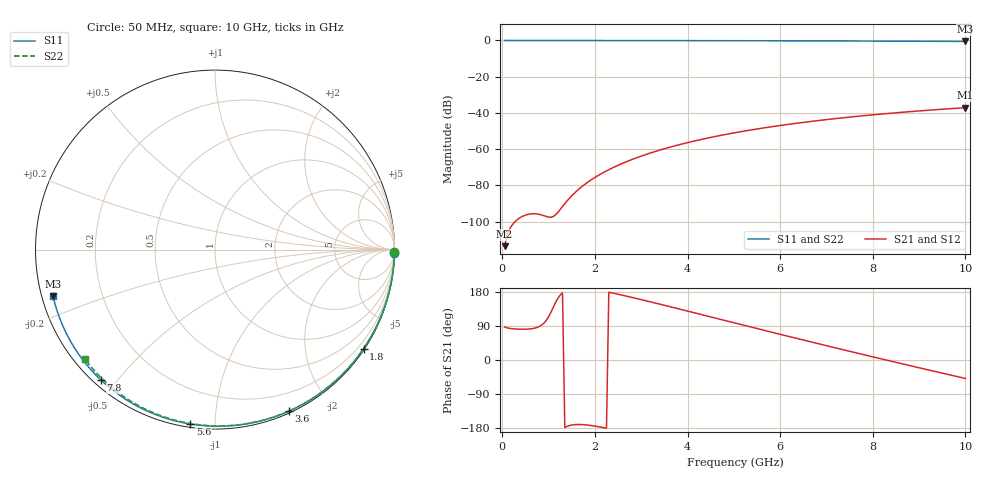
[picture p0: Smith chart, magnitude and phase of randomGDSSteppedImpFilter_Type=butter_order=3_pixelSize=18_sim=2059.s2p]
! freq	dB(S11)	phase(S11)	dB(S12)	phase(S12)
!  dB(S21)	phase(S21)	dB(S22)	phase(S22)
!S-par simulation data
#  GHz  S  DB  R 50
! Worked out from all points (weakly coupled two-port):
!   200 points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, 50 MHz to 10 GHz, reference 50 ohm
!   highest |S21| = -37.12 dB at 10 GHz (marker M1); lowest = -113.6 dB at 50 MHz (marker M2)
!   lowest |S11| = -0.5 dB at 10 GHz (marker M3), VSWR 31.73, Z = 1.61 - j7.02 ohm
!   |S11| at or under -10 dB: nowhere
!   |S22| runs from -0.5 to 0.0 dB; largest |S21 - S12| = 0
!   S11 on the Smith chart (normalised r, x): 50 MHz: open; 1.8 GHz: 0.03, -3.30; 3.6 GHz: 0.02, -1.55; 5.6 GHz: 0.02, -0.87; 7.8 GHz: 0.02, -0.45; 10 GHz: 0.03, -0.14
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0.05  -0.00 -1.0  -113.58 87.2  -113.58 87.2  -0.00 -0.8
0.45  -0.01 -8.6  -96.94 81.1  -96.94 81.1  -0.01 -7.3
0.85  -0.02 -16.1  -96.37 92.2  -96.37 92.2  -0.02 -13.7
1.3  -0.03 -24.5  -91.67 177.4  -91.67 177.4  -0.03 -20.9
1.75  -0.04 -32.8  -80.06 -170.7  -80.06 -170.7  -0.04 -28.0
1.8  -0.04 -33.7  -79.10 -171.2  -79.10 -171.2  -0.04 -28.7
2.1  -0.05 -39.2  -74.11 -176.5  -74.11 -176.5  -0.04 -33.4
2.3  -0.05 -42.8  -71.35 178.8  -71.35 178.8  -0.05 -36.5
2.5  -0.06 -46.4  -68.92 173.6  -68.92 173.6  -0.05 -39.6
2.9  -0.07 -53.4  -64.77 162.3  -64.77 162.3  -0.06 -45.7
3.4  -0.08 -62.1  -60.53 147.4  -60.53 147.4  -0.07 -53.1
3.6  -0.09 -65.5  -59.06 141.3  -59.06 141.3  -0.08 -56.1
4.3  -0.11 -77.2  -54.63 119.8  -54.63 119.8  -0.09 -66.2
5.05  -0.14 -89.4  -50.82 96.8  -50.82 96.8  -0.12 -76.8
5.6  -0.16 -98.0  -48.47 79.9  -48.47 79.9  -0.14 -84.3
6.15  -0.19 -106.5  -46.41 63.2  -46.41 63.2  -0.16 -91.6
6.7  -0.22 -114.8  -44.60 46.7  -44.60 46.7  -0.19 -98.8
7.25  -0.26 -123.0  -42.99 30.3  -42.99 30.3  -0.22 -105.9
7.8  -0.31 -131.2  -41.55 14.1  -41.55 14.1  -0.26 -112.8
8.35  -0.36 -139.3  -40.26 -1.9  -40.26 -1.9  -0.31 -119.6
9.2  -0.45 -151.9  -38.52 -26.2  -38.52 -26.2  -0.38 -130.0
10  -0.55 -164.0  -37.12 -48.7  -37.12 -48.7  -0.47 -139.7
